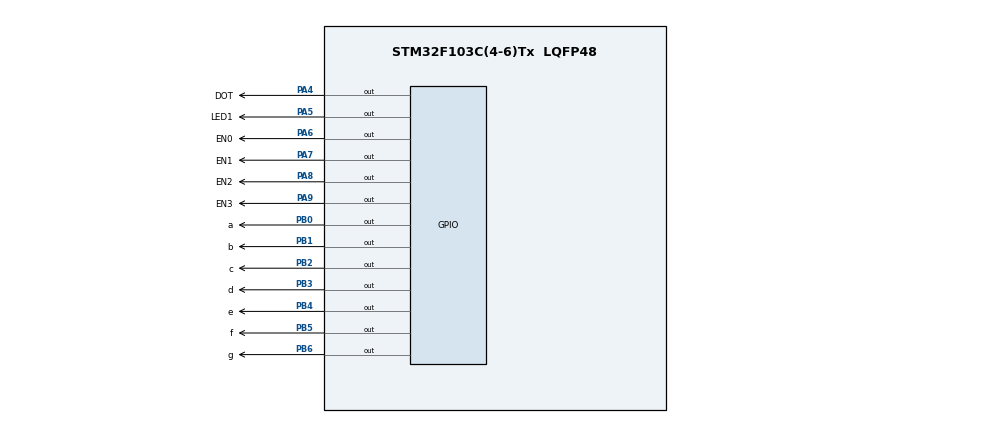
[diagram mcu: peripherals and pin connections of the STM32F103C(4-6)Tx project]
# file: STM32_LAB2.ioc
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Mcu.Family=STM32F1
Mcu.Name=STM32F103C(4-6)Tx
Mcu.Package=LQFP48
NVIC.PriorityGroup=NVIC_PRIORITYGROUP_4
NVIC.TIM2_IRQn=true\:0\:0\:false\:false\:true\:true\:true\:true
PA4.GPIO_Label=DOT
PA4.Signal=GPIO_Output
PA5.GPIO_Label=LED1
PA5.Signal=GPIO_Output
PA6.GPIO_Label=EN0
PA6.Signal=GPIO_Output
PA7.GPIO_Label=EN1
PA7.Signal=GPIO_Output
PA8.GPIO_Label=EN2
PA8.Signal=GPIO_Output
PA9.GPIO_Label=EN3
PA9.Signal=GPIO_Output
PB0.GPIO_Label=a
PB0.Signal=GPIO_Output
PB1.GPIO_Label=b
PB1.Signal=GPIO_Output
PB2.GPIO_Label=c
PB2.Signal=GPIO_Output
PB3.GPIO_Label=d
PB3.Signal=GPIO_Output
PB4.GPIO_Label=e
PB4.Signal=GPIO_Output
PB5.GPIO_Label=f
PB5.Signal=GPIO_Output
PB6.GPIO_Label=g
PB6.Signal=GPIO_Output
ProjectManager.HeapSize=0x200
ProjectManager.StackSize=0x400
ProjectManager.TargetToolchain=STM32CubeIDE
RCC.APB1Freq_Value=8000000
RCC.APB2Freq_Value=8000000
TIM2.Period=9
TIM2.Prescaler=7999
VP_TIM2_VS_ClockSourceINT.Mode=Internal
board=custom

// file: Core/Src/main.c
/* USER CODE BEGIN Header */
/**
  ******************************************************************************
  * @file           : main.c
  * @brief          : Main program body
  ******************************************************************************
  * @attention
  *
  * Copyright (c) 2023 STMicroelectronics.
  * All rights reserved.
  *
  * This software is licensed under terms that can be found in the LICENSE file
  * in the root directory of this software component.
  * If no LICENSE file comes with this software, it is provided AS-IS.
  *
  ******************************************************************************
  */
/* USER CODE END Header */
#include "main.h"
#include"software_time.h"

TIM_HandleTypeDef htim2;

void SystemClock_Config(void);
static void MX_GPIO_Init(void);
static void MX_TIM2_Init(void);

/* USER CODE BEGIN 0 */
const int MAX_LED = 4;
int index_led = 0;
int led_buffer[4] = {5, 6, 7, 8};
void update7SEG(int index){
    switch (index){
        case 0:
            //Display the first 7SEG with led_buffer[0]
        	HAL_GPIO_WritePin(EN0_GPIO_Port, EN0_Pin, RESET);
        	HAL_GPIO_WritePin(EN1_GPIO_Port, EN1_Pin, SET);
        	HAL_GPIO_WritePin(EN2_GPIO_Port, EN2_Pin, SET);
        	HAL_GPIO_WritePin(EN3_GPIO_Port, EN3_Pin, SET);

            break;
        case 1:
            //Display the second 7SEG with led_buffer[1]
        	HAL_GPIO_WritePin(EN0_GPIO_Port, EN0_Pin, SET);
        	HAL_GPIO_WritePin(EN1_GPIO_Port, EN1_Pin, RESET);
        	HAL_GPIO_WritePin(EN2_GPIO_Port, EN2_Pin, SET);
        	HAL_GPIO_WritePin(EN3_GPIO_Port, EN3_Pin, SET);
            break;
        case 2:
            //Display the third 7SEG with led_buffer[2]
        	HAL_GPIO_WritePin(EN0_GPIO_Port, EN0_Pin, SET);
        	HAL_GPIO_WritePin(EN1_GPIO_Port, EN1_Pin, SET);
        	HAL_GPIO_WritePin(EN2_GPIO_Port, EN2_Pin, RESET);
        	HAL_GPIO_WritePin(EN3_GPIO_Port, EN3_Pin, SET);
            break;
        case 3:
            //Display the forth 7SEG with led_buffer[3]
        	HAL_GPIO_WritePin(EN0_GPIO_Port, EN0_Pin, SET);
        	HAL_GPIO_WritePin(EN1_GPIO_Port, EN1_Pin, SET);
        	HAL_GPIO_WritePin(EN2_GPIO_Port, EN2_Pin, SET);
        	HAL_GPIO_WritePin(EN3_GPIO_Port, EN3_Pin, RESET);
            break;
        default:
            break;
    }
}
void display7SEG(int num){
     	  switch(num){
     	  	  	case 0:
     				  HAL_GPIO_WritePin(a_GPIO_Port, a_Pin, RESET);
     				  HAL_GPIO_WritePin(b_GPIO_Port, b_Pin, RESET);
     				  HAL_GPIO_WritePin(c_GPIO_Port, c_Pin, RESET);
     				  HAL_GPIO_WritePin(d_GPIO_Port, d_Pin, RESET);
     				  HAL_GPIO_WritePin(e_GPIO_Port, e_Pin, RESET);
     				  HAL_GPIO_WritePin(f_GPIO_Port, f_Pin, RESET);
     				  HAL_GPIO_WritePin(g_GPIO_Port, g_Pin, SET);
     				  break;
     	  		case 1:
     				  HAL_GPIO_WritePin(a_GPIO_Port, a_Pin, SET);
     				  HAL_GPIO_WritePin(b_GPIO_Port, b_Pin, RESET);
     				  HAL_GPIO_WritePin(c_GPIO_Port, c_Pin, RESET);
     				  HAL_GPIO_WritePin(d_GPIO_Port, d_Pin, SET);
     				  HAL_GPIO_WritePin(e_GPIO_Port, e_Pin, SET);
     				  HAL_GPIO_WritePin(f_GPIO_Port, f_Pin, SET);
     				  HAL_GPIO_WritePin(g_GPIO_Port, g_Pin, SET);
     				  break;
     	  		case 2:
     				  HAL_GPIO_WritePin(a_GPIO_Port, a_Pin, RESET);
     				  HAL_GPIO_WritePin(b_GPIO_Port, b_Pin, RESET);
     				  HAL_GPIO_WritePin(c_GPIO_Port, c_Pin, SET);
     				  HAL_GPIO_WritePin(d_GPIO_Port, d_Pin, RESET);
     				  HAL_GPIO_WritePin(e_GPIO_Port, e_Pin, RESET);
     				  HAL_GPIO_WritePin(f_GPIO_Port, f_Pin, SET);
     				  HAL_GPIO_WritePin(g_GPIO_Port, g_Pin, RESET);
     				  break;
     	  		case 3:
     				  HAL_GPIO_WritePin(a_GPIO_Port, a_Pin, RESET);
     				  HAL_GPIO_WritePin(b_GPIO_Port, b_Pin, RESET);
     				  HAL_GPIO_WritePin(c_GPIO_Port, c_Pin, RESET);
     				  HAL_GPIO_WritePin(d_GPIO_Port, d_Pin, RESET);
     				  HAL_GPIO_WritePin(e_GPIO_Port, e_Pin, SET);
     				  HAL_GPIO_WritePin(f_GPIO_Port, f_Pin, SET);
     				  HAL_GPIO_WritePin(g_GPIO_Port, g_Pin, RESET);
     				  break;
     	  		case 4:
     		  		  HAL_GPIO_WritePin(a_GPIO_Port, a_Pin, SET);
     				  HAL_GPIO_WritePin(b_GPIO_Port, b_Pin, RESET);
     				  HAL_GPIO_WritePin(c_GPIO_Port, c_Pin, RESET);
     				  HAL_GPIO_WritePin(d_GPIO_Port, d_Pin, SET);
     				  HAL_GPIO_WritePin(e_GPIO_Port, e_Pin, SET);
     				  HAL_GPIO_WritePin(f_GPIO_Port, f_Pin, RESET);
     				  HAL_GPIO_WritePin(g_GPIO_Port, g_Pin, RESET);
     				  break;
     			case 5:
     				  HAL_GPIO_WritePin(a_GPIO_Port, a_Pin, RESET);
     				  HAL_GPIO_WritePin(b_GPIO_Port, b_Pin, SET);
     				  HAL_GPIO_WritePin(c_GPIO_Port, c_Pin, RESET);
     				  HAL_GPIO_WritePin(d_GPIO_Port, d_Pin, RESET);
     				  HAL_GPIO_WritePin(e_GPIO_Port, e_Pin, SET);
     				  HAL_GPIO_WritePin(f_GPIO_Port, f_Pin, RESET);
     				  HAL_GPIO_WritePin(g_GPIO_Port, g_Pin, RESET);
     				  break;
     			case 6:
     				  HAL_GPIO_WritePin(a_GPIO_Port, a_Pin, RESET);
     				  HAL_GPIO_WritePin(b_GPIO_Port, b_Pin, SET);
     				  HAL_GPIO_WritePin(c_GPIO_Port, c_Pin, RESET);
     				  HAL_GPIO_WritePin(d_GPIO_Port, d_Pin, RESET);
     				  HAL_GPIO_WritePin(e_GPIO_Port, e_Pin, RESET);
     				  HAL_GPIO_WritePin(f_GPIO_Port, f_Pin, RESET);
     				  HAL_GPIO_WritePin(g_GPIO_Port, g_Pin, RESET);
     				  break;
     			case 7:
     				  HAL_GPIO_WritePin(a_GPIO_Port, a_Pin, RESET);
     				  HAL_GPIO_WritePin(b_GPIO_Port, b_Pin, RESET);
     				  HAL_GPIO_WritePin(c_GPIO_Port, c_Pin, RESET);
     				  HAL_GPIO_WritePin(d_GPIO_Port, d_Pin, SET);
     				  HAL_GPIO_WritePin(e_GPIO_Port, e_Pin, SET);
     				  HAL_GPIO_WritePin(f_GPIO_Port, f_Pin, SET);
     				  HAL_GPIO_WritePin(g_GPIO_Port, g_Pin, SET);
     				  break;
     			case 8:
     				  HAL_GPIO_WritePin(a_GPIO_Port, a_Pin, RESET);
     				  HAL_GPIO_WritePin(b_GPIO_Port, b_Pin, RESET);
     				  HAL_GPIO_WritePin(c_GPIO_Port, c_Pin, RESET);
     				  HAL_GPIO_WritePin(d_GPIO_Port, d_Pin, RESET);
     				  HAL_GPIO_WritePin(e_GPIO_Port, e_Pin, RESET);
     				  HAL_GPIO_WritePin(f_GPIO_Port, f_Pin, RESET);
     				  HAL_GPIO_WritePin(g_GPIO_Port, g_Pin, RESET);
     				  break;
     			case 9:
     				  HAL_GPIO_WritePin(a_GPIO_Port, a_Pin, RESET);
     				  HAL_GPIO_WritePin(b_GPIO_Port, b_Pin, RESET);
     				  HAL_GPIO_WritePin(c_GPIO_Port, c_Pin, RESET);
     				  HAL_GPIO_WritePin(d_GPIO_Port, d_Pin, RESET);
     				  HAL_GPIO_WritePin(e_GPIO_Port, e_Pin, SET);
     				  HAL_GPIO_WritePin(f_GPIO_Port, f_Pin, RESET);
     				  HAL_GPIO_WritePin(g_GPIO_Port, g_Pin, RESET);
     				  break;

     	  }
       }
void updateClockBuffer(int hour, int minute){
	led_buffer[0] = hour / 10;
	led_buffer[1] = hour % 10;
	led_buffer[2] = minute/10;
	led_buffer[3] = minute % 10;
}

/* USER CODE END 0 */

int main(void)
{

  /* MCU Configuration--------------------------------------------------------*/

  /* Reset of all peripherals, Initializes the Flash interface and the Systick. */
  HAL_Init();

  /* Configure the system clock */
  SystemClock_Config();

  /* Initialize all configured peripherals */
  MX_GPIO_Init();
  MX_TIM2_Init();
  /* USER CODE BEGIN 2 */
  HAL_TIM_Base_Start_IT (& htim2 ) ;
  /* USER CODE END 2 */

  /* Infinite loop */
  /* USER CODE BEGIN WHILE */
  int hour = 15, minute = 8, second = 50;
  updateClockBuffer(hour,minute);
  setTimer0(100);
  setTimer1(100);
  setTimer2(100);
  setTimer3(25);
  while (1)
  {
	  if(timer0_flag==1){
	      second++;

	      if (second >= 60){
	         second = 0;
	         minute++;
	      }
	      if(minute >= 60){
	         minute = 0;
	         hour++;
	      }
	      if(hour >=24){
	         hour = 0;
	      }
	      updateClockBuffer(hour,minute);
	      setTimer0(100);
	  }
	  if(timer1_flag==1){
		  HAL_GPIO_TogglePin(GPIOA,LED1_Pin);
		  setTimer1(100);
	  }
	  if(timer2_flag==1){
		  HAL_GPIO_TogglePin(GPIOA,DOT_Pin);
		  setTimer2(100);
	  }
	  if(timer3_flag==1){
		  update7SEG(index_led);
		  display7SEG(led_buffer[index_led]);
		  index_led = (index_led + 1)% MAX_LED;
		  setTimer3(25);

	  }
    /* USER CODE END WHILE */

  }
}

void SystemClock_Config(void)
{
  RCC_OscInitTypeDef RCC_OscInitStruct = {0};
  RCC_ClkInitTypeDef RCC_ClkInitStruct = {0};

  /** Initializes the RCC Oscillators according to the specified parameters
  * in the RCC_OscInitTypeDef structure.
  */
  RCC_OscInitStruct.OscillatorType = RCC_OSCILLATORTYPE_HSI;
  RCC_OscInitStruct.HSIState = RCC_HSI_ON;
  RCC_OscInitStruct.HSICalibrationValue = RCC_HSICALIBRATION_DEFAULT;
  RCC_OscInitStruct.PLL.PLLState = RCC_PLL_NONE;
  if (HAL_RCC_OscConfig(&RCC_OscInitStruct) != HAL_OK)
  {
    Error_Handler();
  }

  /** Initializes the CPU, AHB and APB buses clocks
  */
  RCC_ClkInitStruct.ClockType = RCC_CLOCKTYPE_HCLK|RCC_CLOCKTYPE_SYSCLK
                              |RCC_CLOCKTYPE_PCLK1|RCC_CLOCKTYPE_PCLK2;
  RCC_ClkInitStruct.SYSCLKSource = RCC_SYSCLKSOURCE_HSI;
  RCC_ClkInitStruct.AHBCLKDivider = RCC_SYSCLK_DIV1;
  RCC_ClkInitStruct.APB1CLKDivider = RCC_HCLK_DIV1;
  RCC_ClkInitStruct.APB2CLKDivider = RCC_HCLK_DIV1;

  if (HAL_RCC_ClockConfig(&RCC_ClkInitStruct, FLASH_LATENCY_0) != HAL_OK)
  {
    Error_Handler();
  }
}

static void MX_TIM2_Init(void)
{

  TIM_ClockConfigTypeDef sClockSourceConfig = {0};
  TIM_MasterConfigTypeDef sMasterConfig = {0};

  htim2.Instance = TIM2;
  htim2.Init.Prescaler = 7999;
  htim2.Init.CounterMode = TIM_COUNTERMODE_UP;
  htim2.Init.Period = 9;
  htim2.Init.ClockDivision = TIM_CLOCKDIVISION_DIV1;
  htim2.Init.AutoReloadPreload = TIM_AUTORELOAD_PRELOAD_DISABLE;
  if (HAL_TIM_Base_Init(&htim2) != HAL_OK)
  {
    Error_Handler();
  }
  sClockSourceConfig.ClockSource = TIM_CLOCKSOURCE_INTERNAL;
  if (HAL_TIM_ConfigClockSource(&htim2, &sClockSourceConfig) != HAL_OK)
  {
    Error_Handler();
  }
  sMasterConfig.MasterOutputTrigger = TIM_TRGO_RESET;
  sMasterConfig.MasterSlaveMode = TIM_MASTERSLAVEMODE_DISABLE;
  if (HAL_TIMEx_MasterConfigSynchronization(&htim2, &sMasterConfig) != HAL_OK)
  {
    Error_Handler();
  }

}

static void MX_GPIO_Init(void)
{
  GPIO_InitTypeDef GPIO_InitStruct = {0};

  /* GPIO Ports Clock Enable */
  __HAL_RCC_GPIOA_CLK_ENABLE();
  __HAL_RCC_GPIOB_CLK_ENABLE();

  /*Configure GPIO pin Output Level */
  HAL_GPIO_WritePin(GPIOA, DOT_Pin|LED1_Pin|EN0_Pin|EN1_Pin
                          |EN2_Pin|EN3_Pin, GPIO_PIN_RESET);

  /*Configure GPIO pin Output Level */
  HAL_GPIO_WritePin(GPIOB, a_Pin|b_Pin|c_Pin|d_Pin
                          |e_Pin|f_Pin|g_Pin, GPIO_PIN_RESET);

  /*Configure GPIO pins : DOT_Pin LED1_Pin EN0_Pin EN1_Pin
                           EN2_Pin EN3_Pin */
  GPIO_InitStruct.Pin = DOT_Pin|LED1_Pin|EN0_Pin|EN1_Pin
                          |EN2_Pin|EN3_Pin;
  GPIO_InitStruct.Mode = GPIO_MODE_OUTPUT_PP;
  GPIO_InitStruct.Pull = GPIO_NOPULL;
  GPIO_InitStruct.Speed = GPIO_SPEED_FREQ_LOW;
  HAL_GPIO_Init(GPIOA, &GPIO_InitStruct);

  /*Configure GPIO pins : a_Pin b_Pin c_Pin d_Pin
                           e_Pin f_Pin g_Pin */
  GPIO_InitStruct.Pin = a_Pin|b_Pin|c_Pin|d_Pin
                          |e_Pin|f_Pin|g_Pin;
  GPIO_InitStruct.Mode = GPIO_MODE_OUTPUT_PP;
  GPIO_InitStruct.Pull = GPIO_NOPULL;
  GPIO_InitStruct.Speed = GPIO_SPEED_FREQ_LOW;
  HAL_GPIO_Init(GPIOB, &GPIO_InitStruct);

}

/* USER CODE BEGIN 4 */

void HAL_TIM_PeriodElapsedCallback(TIM_HandleTypeDef *htim){
timerRun0();
timerRun1();
timerRun2();
timerRun3();

}
/* USER CODE END 4 */

void Error_Handler(void)
{
  __disable_irq();
  while (1)
  {
  }
}
